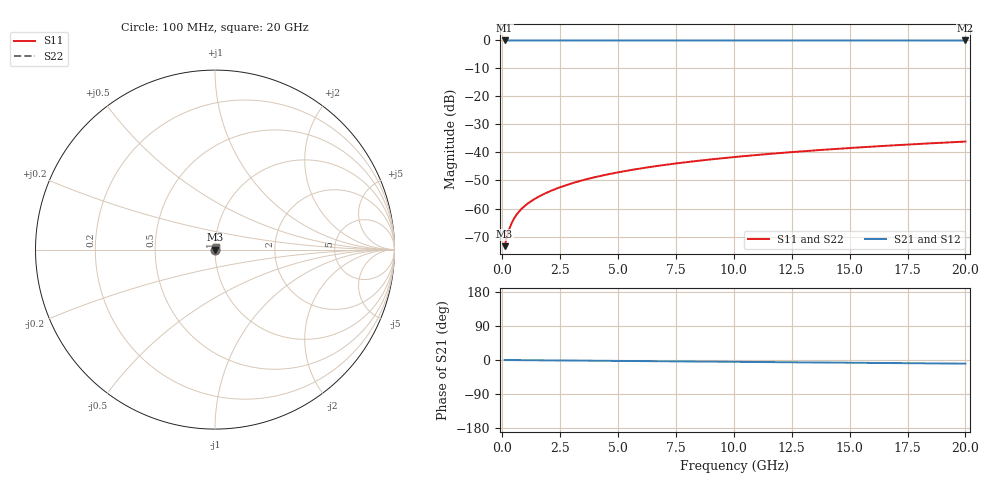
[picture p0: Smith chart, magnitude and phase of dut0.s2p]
! Touchstone file exported from HFSS 2026.1.0
!  File:  C:/ffzhzh/LocalFiles/Ansys_Project_Files/temp_train_TSV_0_1782957761_45568.aedt
!  Generated:  10:04:36 AM Jul  2, 2026
!  Design:  TSV
!  Project:  temp_train_TSV_0_1782957761_45568
! Variables:
!  h_bsmrdl = 2um
!  h_ox = 20um
!  h_rdl = 5um
!  h_sub = 98.32um
!  h_tmrdl = 5um
!  h_tsv = 98.32um
!  h_via = 3um
!  l_bsmrdl = 300um
!  l_sub = 418.54um
!  l_tmrdl = 200um
!  m_sub = 200um
!  pitch = 42.1um
!  r_tsv = 9.27um
!  s_tmrdl = 10um
!  w_bsmrdl = 18um
!  w_sub = 500um
!  w_tmrdl = 12um
!  x_tsv_center1 = 206um
!  x_tsv_center2 = 524um
!  x_tsv_center3 = 736um
!  x_tsv_center4 = 1054um
!  x_tsv_center5 = 1266um
!  x_tsv_center6 = 1584um
# GHz S MA R 50.000000
! Terminal data exported
! Port[1] = TSV1_1_T1
! Port[2] = TSV1_1_T2
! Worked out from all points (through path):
!   200 points, 100 MHz to 20 GHz, reference 50 ohm
!   highest |S21| = 0.00 dB at 100 MHz (marker M1); lowest = 0.0 dB at 20 GHz (marker M2)
!   group delay of S21, straight-line fit = 1.33 ps
!   lowest |S11| = -73.5 dB at 100 MHz (marker M3), VSWR 1.00, Z = 50 + j0.013 ohm
!   |S11| at or under -10 dB: start of sweep to end of sweep
!   |S22| runs from -73.5 to -36.1 dB; largest |S21 - S12| = 3.1e-15
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0.1  0.0002126 37.5  0.9998 -0.1  0.9998 -0.1  0.0002126 37.5
! Gamma 0 0 0 0
! Port Impedance 50 0 50 0
0.2  0.0003143 54.5  0.9998 -0.1  0.9998 -0.1  0.0003143 54.5
0.3  0.0004285 61.7  0.9998 -0.2  0.9998 -0.2  0.0004285 61.7
0.4  0.0005427 65.1  0.9998 -0.2  0.9998 -0.2  0.0005427 65.1
0.5  0.000653 66.8  0.9997 -0.3  0.9997 -0.3  0.000653 66.8
0.6  0.0007583 67.8  0.9997 -0.3  0.9997 -0.3  0.0007583 67.8
0.7  0.0008588 68.5  0.9997 -0.3  0.9997 -0.3  0.0008588 68.5
0.8  0.0009551 69.1  0.9997 -0.4  0.9997 -0.4  0.0009551 69.1
1  0.001138 70.0  0.9996 -0.5  0.9996 -0.5  0.001138 70.0
1.4  0.001483 71.6  0.9995 -0.7  0.9995 -0.7  0.001483 71.6
1.7  0.001733 72.7  0.9995 -0.8  0.9995 -0.8  0.001733 72.7
2  0.001982 73.6  0.9995 -1.0  0.9995 -1.0  0.001982 73.6
2.7  0.002561 75.2  0.9994 -1.3  0.9994 -1.3  0.002561 75.2
3.5  0.003216 76.2  0.9993 -1.7  0.9993 -1.7  0.003216 76.2
4.2  0.003783 76.7  0.9993 -2.0  0.9993 -2.0  0.003783 76.7
5  0.004423 77.1  0.9992 -2.4  0.9992 -2.4  0.004423 77.1
6.8  0.005833 77.4  0.999 -3.3  0.999 -3.3  0.005833 77.4
8.3  0.006986 77.4  0.9989 -4.0  0.9989 -4.0  0.006986 77.4
10.1  0.008353 77.2  0.9988 -4.9  0.9988 -4.9  0.008353 77.2
13.4  0.01083 76.6  0.9986 -6.4  0.9986 -6.4  0.01083 76.6
16.7  0.01327 75.6  0.9984 -8.0  0.9984 -8.0  0.01327 75.6
20  0.01566 74.5  0.9982 -9.6  0.9982 -9.6  0.01566 74.5
